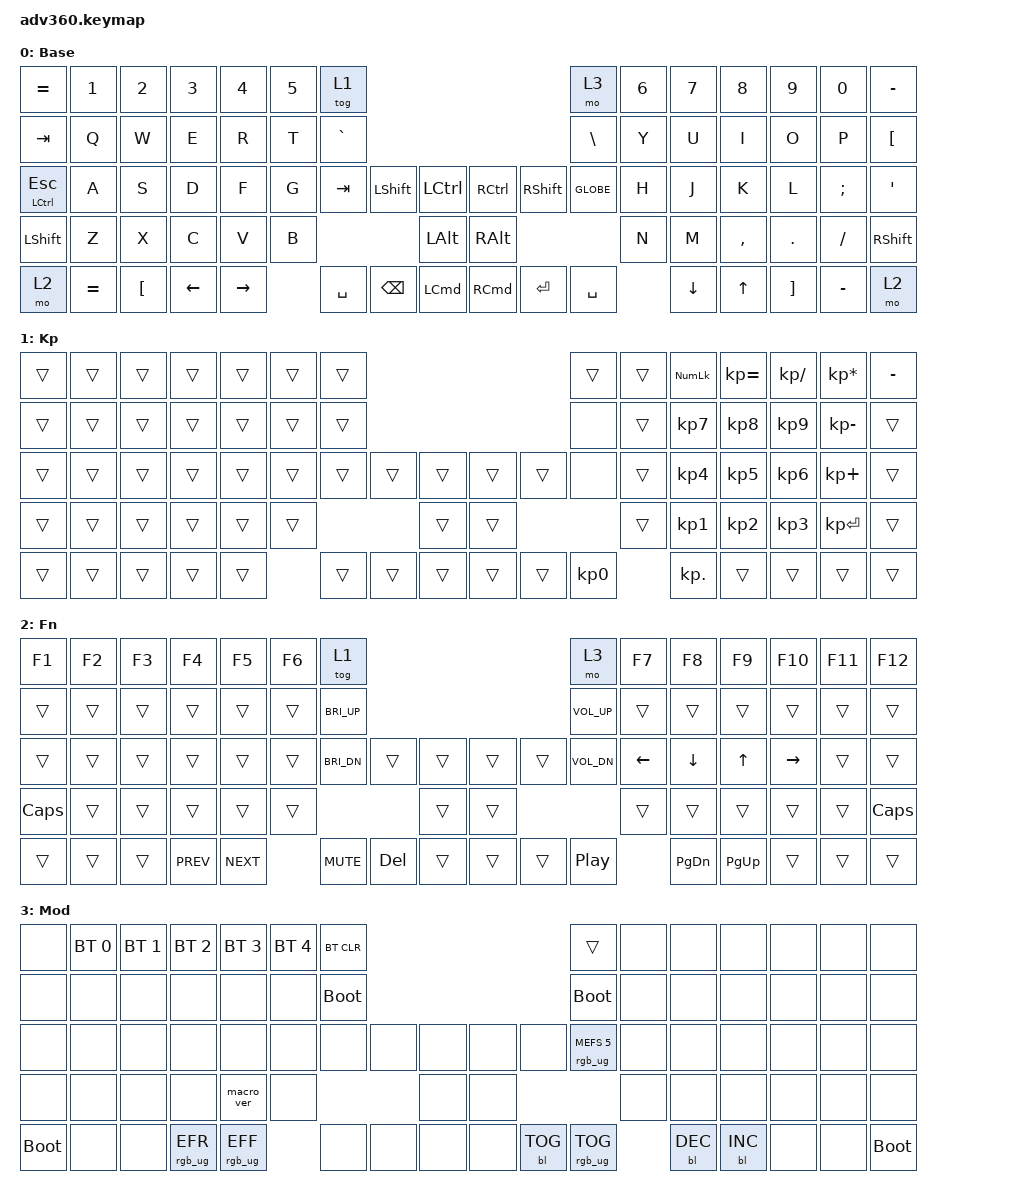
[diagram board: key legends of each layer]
#include <dt-bindings/zmk/stp.h>
#include <behaviors.dtsi>
#include <dt-bindings/zmk/backlight.h>
#include <dt-bindings/zmk/bt.h>
#include <dt-bindings/zmk/keys.h>
#include <dt-bindings/zmk/rgb.h>

/ {
    behaviors {
        #include "macros.dtsi"
      #include "version.dtsi"

        hm: homerow_mods {
            compatible = "zmk,behavior-hold-tap";
            label = "HOMEROW_MODS";
            #binding-cells = <2>;
            tapping-term-ms = <200>;
            quick_tap_ms = <175>;
            flavor = "tap-preferred";
            bindings = <&kp>, <&kp>;
        };
    };

    keymap {
        compatible = "zmk,keymap";

        default_layer {
            display-name = "Base";
            bindings = <
&kp EQUAL         &kp N1     &kp N2            &kp N3          &kp N4     &kp N5  &tog 1                                                              &mo 3      &kp N6  &kp N7    &kp N8     &kp N9             &kp N0     &kp MINUS
&kp TAB           &kp Q      &kp W             &kp E           &kp R      &kp T   &kp GRAVE                                                           &kp BSLH   &kp Y   &kp U     &kp I      &kp O              &kp P      &kp LEFT_BRACKET
&mt LCTRL ESCAPE  &kp A      &kp S             &kp D           &kp F      &kp G   &kp TAB    &kp LEFT_SHIFT  &kp LCTRL         &kp RCTRL  &kp RSHIFT  &kp GLOBE  &kp H   &kp J     &kp K      &kp L              &kp SEMI   &kp SQT
&kp LSHFT         &kp Z      &kp X             &kp C           &kp V      &kp B                              &kp LEFT_ALT      &kp RALT                          &kp N   &kp M     &kp COMMA  &kp DOT            &kp FSLH   &kp RSHFT
&mo 2             &kp EQUAL  &kp LEFT_BRACKET  &kp LEFT_ARROW  &kp RIGHT          &kp SPACE  &kp BACKSPACE   &kp LCMD          &kp RCMD   &kp ENTER   &kp SPACE          &kp DOWN  &kp UP     &kp RIGHT_BRACKET  &kp MINUS  &mo 2
            >;
        };

        keypad {
            display-name = "Kp";
            bindings = <
&trans  &trans  &trans  &trans  &trans  &trans  &trans                                      &trans     &trans  &kp KP_NUM  &kp KP_EQUAL  &kp KP_DIVIDE  &kp KP_MULTIPLY  &kp MINUS
&trans  &trans  &trans  &trans  &trans  &trans  &trans                                      &none      &trans  &kp KP_N7   &kp KP_N8     &kp KP_N9      &kp KP_MINUS     &trans
&trans  &trans  &trans  &trans  &trans  &trans  &trans  &trans  &trans      &trans  &trans  &none      &trans  &kp KP_N4   &kp KP_N5     &kp KP_N6      &kp KP_PLUS      &trans
&trans  &trans  &trans  &trans  &trans  &trans                  &trans      &trans                     &trans  &kp KP_N1   &kp KP_N2     &kp KP_N3      &kp KP_ENTER     &trans
&trans  &trans  &trans  &trans  &trans          &trans  &trans  &trans      &trans  &trans  &kp KP_N0          &kp KP_DOT  &trans        &trans         &trans           &trans
            >;
        };

        fn {
            display-name = "Fn";
            bindings = <
&kp F1    &kp F2  &kp F3  &kp F4      &kp F5      &kp F6  &tog 1                                             &mo 3             &kp F7    &kp F8          &kp F9        &kp F10    &kp F11  &kp F12
&trans    &trans  &trans  &trans      &trans      &trans  &kp C_BRI_UP                                       &kp C_VOL_UP      &trans    &trans          &trans        &trans     &trans   &trans
&trans    &trans  &trans  &trans      &trans      &trans  &kp C_BRI_DN  &trans   &trans      &trans  &trans  &kp C_VOL_DN      &kp LEFT  &kp DOWN_ARROW  &kp UP_ARROW  &kp RIGHT  &trans   &trans
&kp CLCK  &trans  &trans  &trans      &trans      &trans                         &trans      &trans                            &trans    &trans          &trans        &trans     &trans   &kp CAPS
&trans    &trans  &trans  &kp C_PREV  &kp C_NEXT          &kp C_MUTE    &kp DEL  &trans      &trans  &trans  &kp C_PLAY_PAUSE            &kp PAGE_DOWN   &kp PG_UP     &trans     &trans   &trans
            >;
        };

        mod {
            display-name = "Mod";
            bindings = <
&none        &bt BT_SEL 0  &bt BT_SEL 1  &bt BT_SEL 2  &bt BT_SEL 3  &bt BT_SEL 4  &bt BT_CLR                                        &trans                  &none  &none       &none       &none  &none  &none
&none        &none         &none         &none         &none         &none         &bootloader                                       &bootloader             &none  &none       &none       &none  &none  &none
&none        &none         &none         &none         &none         &none         &none        &none  &none      &none  &none       &rgb_ug RGB_MEFS_CMD 5  &none  &none       &none       &none  &none  &none
&none        &none         &none         &none         &macro_ver    &none                             &none      &none                                      &none  &none       &none       &none  &none  &none
&bootloader  &none         &none         &rgb_ug RGB_EFR  &rgb_ug RGB_EFF          &none        &none  &none      &none  &bl BL_TOG  &rgb_ug RGB_TOG                &bl BL_DEC  &bl BL_INC  &none  &none  &bootloader
            >;
        };
    };
};
